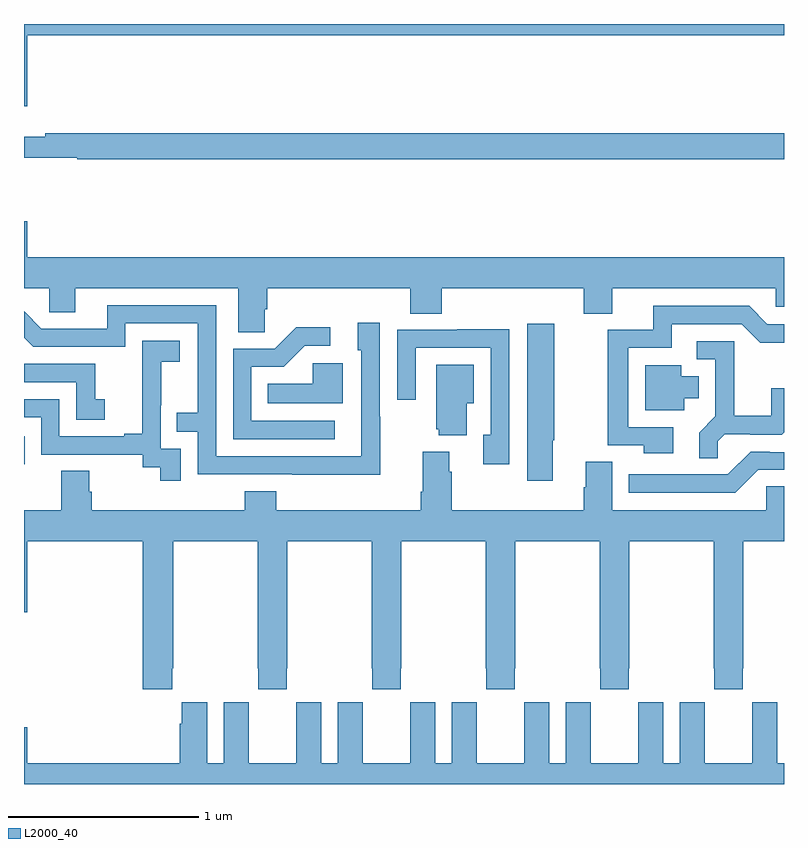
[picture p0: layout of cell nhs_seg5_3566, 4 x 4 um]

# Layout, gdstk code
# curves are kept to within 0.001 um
import gdstk
lib = gdstk.Library(unit=1e-6, precision=1e-09)
def R(c, l, rs):  # rectangles x0, y0, x1, y1
    for r in rs: c.add(gdstk.rectangle(r[:2], r[2:], *l))
def P(c, l, *ps):  # polygons
    for p in ps: c.add(gdstk.Polygon(p, *l))
L2000_40 = (2000, 40)

nhs_seg5_3566 = lib.new_cell('nhs_seg5_3566')
R(nhs_seg5_3566, L2000_40, [(321,874.482,321.005,874.629)])
P(nhs_seg5_3566, L2000_40, [(321.016,876.74),(325,876.74),(325,876.799),(321,876.799),(321,876.366),(321.016,876.366)],
  [(325,876.224),(321.112,876.224),(321.112,876.205),(321,876.205),(321,876.096),(321.28,876.096),(321.28,876.088),(325,876.088)],
  [(322.266,875.299),(322.28,875.299),(322.28,875.408),(323.033,875.408),(323.033,875.275),(323.198,875.275),(323.198,875.408),(323.945,875.408),(323.945,875.275),(324.097,875.275),(324.097,875.408),(324.957,875.408),(324.957,875.31),(325,875.31),(325,875.572),(321.016,875.572),(321.016,875.761),(321,875.761),(321,875.408),(321.132,875.408),(321.132,875.281),(321.271,875.281),(321.271,875.408),(322.127,875.408),(322.127,875.176),(322.266,875.176)],
  [(322.875,874.733),(322.872,874.733),(322.872,875.227),(322.757,875.227),(322.757,875.082),(322.776,875.082),(322.775,874.524),(322.011,874.524),(322.011,875.319),(321.437,875.319),(321.437,875.196),(321.09,875.196),(321,875.286),(321,875.148),(321.048,875.1),(321.534,875.1),(321.534,875.223),(321.915,875.223),(321.915,874.754),(321.805,874.754),(321.805,874.653),(321.915,874.653),(321.915,874.428),(322.875,874.427)],
  [(324.418,874.677),(324.18,874.677),(324.18,875.094),(324.409,875.094),(324.409,875.22),(324.777,875.22),(324.876,875.122),(325,875.122),(325,875.22),(324.912,875.22),(324.816,875.316),(324.311,875.316),(324.311,875.19),(324.072,875.19),(324.072,874.581),(324.262,874.581),(324.262,874.541),(324.418,874.541)],
  [(323.782,874.607),(323.79,874.607),(323.79,875.221),(323.648,875.221),(323.648,874.395),(323.782,874.395)],
  [(322.636,874.71),(322.197,874.71),(322.197,874.995),(322.366,874.995),(322.477,875.106),(322.612,875.106),(322.612,875.204),(322.433,875.204),(322.32,875.091),(322.101,875.091),(322.101,874.614),(322.636,874.614)],
  [(323.553,875.192),(323.281,875.192),(323.281,875.19),(322.965,875.19),(322.965,874.821),(323.061,874.821),(323.061,875.094),(323.457,875.094),(323.457,874.638),(323.417,874.638),(323.417,874.482),(323.553,874.482)],
  [(321.825,874.563),(321.72,874.563),(321.72,874.793),(321.722,874.793),(321.722,875.021),(321.82,875.021),(321.82,875.131),(321.622,875.131),(321.622,874.925),(321.623,874.925),(321.623,874.642),(321.527,874.642),(321.527,874.629),(321.186,874.629),(321.186,874.824),(321,874.824),(321,874.728),(321.09,874.728),(321.09,874.533),(321.624,874.533),(321.624,874.465),(321.717,874.465),(321.717,874.395),(321.825,874.395)],
  [(324.651,874.604),(324.688,874.641),(324.822,874.641),(324.822,874.638),(324.987,874.638),(325,874.651),(325,874.881),(324.934,874.881),(324.934,874.738),(324.737,874.738),(324.737,875.13),(324.54,875.13),(324.54,875.034),(324.639,875.034),(324.639,874.735),(324.553,874.649),(324.553,874.513),(324.651,874.513)],
  [(322.678,875.014),(322.521,875.014),(322.521,874.906),(322.282,874.906),(322.282,874.802),(322.678,874.802)],
  [(321.424,874.825),(321.375,874.825),(321.375,875.01),(321,875.01),(321,874.914),(321.276,874.914),(321.276,874.716),(321.424,874.716)],
  [(323.329,874.802),(323.368,874.802),(323.368,875.005),(323.171,875.005),(323.171,874.665),(323.183,874.665),(323.183,874.634),(323.329,874.634)],
  [(324.475,874.829),(324.55,874.829),(324.55,874.945),(324.46,874.945),(324.46,875.002),(324.269,875.002),(324.269,874.766),(324.475,874.766)],
  [(321.779,873.409),(321.786,873.409),(321.786,874.076),(322.231,874.076),(322.231,873.409),(322.233,873.409),(322.233,873.297),(322.383,873.297),(322.383,873.409),(322.386,873.409),(322.386,874.076),(322.831,874.076),(322.831,873.409),(322.833,873.409),(322.833,873.297),(322.983,873.297),(322.983,873.409),(322.986,873.409),(322.986,874.076),(323.431,874.076),(323.431,873.409),(323.433,873.409),(323.433,873.297),(323.583,873.297),(323.583,873.409),(323.586,873.409),(323.586,874.076),(324.031,874.076),(324.031,873.409),(324.033,873.409),(324.033,873.297),(324.183,873.297),(324.183,873.409),(324.186,873.409),(324.186,874.076),(324.631,874.076),(324.631,873.409),(324.633,873.409),(324.633,873.297),(324.783,873.297),(324.783,873.409),(324.786,873.409),(324.786,874.076),(325,874.076),(325,874.367),(324.906,874.367),(324.906,874.24),(324.097,874.24),(324.097,874.496),(323.957,874.496),(323.957,874.362),(323.945,874.362),(323.945,874.24),(323.252,874.24),(323.252,874.442),(323.239,874.442),(323.239,874.549),(323.099,874.549),(323.099,874.336),(323.087,874.336),(323.087,874.24),(322.328,874.24),(322.328,874.339),(322.163,874.339),(322.163,874.24),(321.356,874.24),(321.356,874.338),(321.343,874.338),(321.343,874.448),(321.196,874.448),(321.196,874.24),(321,874.24),(321,873.702),(321.016,873.702),(321.016,874.076),(321.626,874.076),(321.626,873.297),(321.779,873.297)],
  [(324.864,874.452),(325,874.452),(325,874.545),(324.926,874.545),(324.926,874.548),(324.825,874.548),(324.705,874.428),(324.182,874.428),(324.182,874.332),(324.744,874.332)],
  [(324.582,873.116),(324.582,873.229),(324.452,873.229),(324.452,872.908),(324.364,872.908),(324.364,873.229),(324.234,873.229),(324.234,873.116),(324.233,873.116),(324.233,872.908),(323.983,872.908),(323.983,873.116),(323.982,873.116),(323.982,873.229),(323.852,873.229),(323.852,872.908),(323.764,872.908),(323.764,873.229),(323.634,873.229),(323.634,873.116),(323.633,873.116),(323.633,872.908),(323.383,872.908),(323.383,873.116),(323.382,873.116),(323.382,873.229),(323.252,873.229),(323.252,872.908),(323.164,872.908),(323.164,873.229),(323.034,873.229),(323.034,873.116),(323.033,873.116),(323.033,872.908),(322.783,872.908),(322.783,873.116),(322.782,873.116),(322.782,873.229),(322.652,873.229),(322.652,872.908),(322.564,872.908),(322.564,873.229),(322.434,873.229),(322.434,873.116),(322.433,873.116),(322.433,872.908),(322.183,872.908),(322.183,873.116),(322.182,873.116),(322.182,873.229),(322.052,873.229),(322.052,872.908),(321.964,872.908),(321.964,873.229),(321.83,873.229),(321.83,873.116),(321.821,873.116),(321.821,872.908),(321.016,872.908),(321.016,873.097),(321,873.097),(321,872.799),(325,872.799),(325,872.908),(324.964,872.908),(324.964,873.229),(324.834,873.229),(324.834,873.116),(324.833,873.116),(324.833,872.908),(324.583,872.908),(324.583,873.116)])

lib.write_gds('nhs_seg5_3566.gds')
